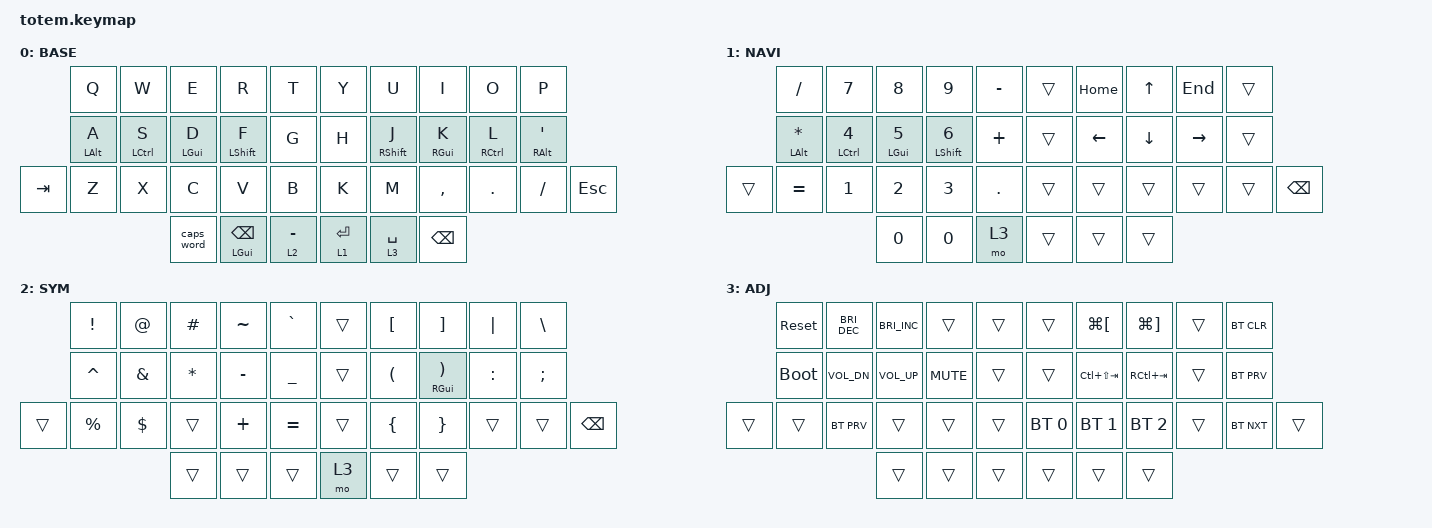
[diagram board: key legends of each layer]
//
//                                                        ▀▀▀▀▀     ▀▀▀▀▀          ▀▀█▀▀
//                                                        ▄▀▀▀▄  ▄  ▄▀▀▀▄  ▄  ▄▀▀▀▄  █  ▄▀▀▀▄
//                                                        █   █  █  █   █  █  █   █  █  █   █
//                                                         ▀▀▀   █   ▀▀▀   █   ▀▀▀   ▀   ▀▀▀
//                                                               █      ▄▄▄█▄▄▄    █   █
//                                                               ▀      █  █  █     █▄█
//                                                             ▀▀▀▀▀    █  █  █      ▀
//                                                                      ▀  ▀  ▀
//
// ▄▄▄▄▄▄▄▄▄▄▄▄▄▄▄▄▄▄▄▄▄▄▄▄▄▄▄▄▄▄▄▄▄▄▄▄▄▄▄▄▄▄▄▄▄▄▄▄▄▄▄▄▄▄▄▄▄▄▄▄▄▄▄▄▄▄▄▄▄▄▄▄▄▄▄▄▄▄▄▄▄▄▄▄▄▄▄▄▄▄▄▄▄▄▄▄▄▄▄▄▄▄▄▄▄▄▄▄▄▄▄▄▄▄▄▄▄▄▄▄▄▄▄▄▄▄▄▄▄▄▄▄▄▄▄▄▄▄▄▄▄▄▄▄▄▄▄▄▄

#include <behaviors.dtsi>
#include <dt-bindings/zmk/bt.h>
#include <dt-bindings/zmk/keys.h>

#define BASE 0
#define NAV  1
#define SYM  2
#define ADJ  3
#define TVP1 4
#define TVP2 5

&mt {
    quick-tap-ms = <100>;
    global-quick-tap;
    flavor = "tap-preferred";
    tapping-term-ms = <170>;
};

/ {
    combos {
        compatible = "zmk,combos";

        combo_esc {
            timeout-ms = <50>;
            key-positions = <0 1>;
            bindings = <&kp ESC>;
        };

        combo_tvp {
            timeout-ms = <100>;
            key-positions = <11 12 13>;
            bindings = <&tog TVP1>;
        };
    };

    macros {
        gif: gif {
            label = "giphy";
            compatible = "zmk,behavior-macro";
            #binding-cells = <0>;
            bindings =
                <&macro_press>,
                <&kp LSHFT>,
                <&macro_tap>,
                <&kp N2>,
                <&macro_release>,
                <&kp LSHFT>,
                <&macro_tap>,
                <&kp G &kp I &kp F>;
        };
    };

    keymap {
        compatible = "zmk,keymap";

        // ▄▄▄▄▄▄▄▄▄▄▄▄▄▄▄▄▄▄▄▄▄▄▄▄▄▄▄▄▄▄▄▄▄▄▄▄▄▄▄▄▄▄▄▄▄▄▄▄▄▄▄▄▄▄▄▄▄▄▄▄▄▄▄▄▄▄▄▄▄▄▄▄▄▄▄▄▄▄▄▄▄▄▄▄▄▄▄▄▄▄▄▄▄▄▄▄▄▄▄▄▄▄▄▄▄▄▄▄▄▄▄▄▄▄▄▄▄▄▄▄▄▄▄▄▄▄▄▄▄▄▄▄▄▄▄▄▄▄▄▄▄▄▄▄▄▄▄▄▄

        base_layer {
            // ┏━━━━━━━━━━━━━━━━━━━━━━━━━━━━━━━━━━━━━━━┓

            label = "BASE";

            // ┗━━━━━━━━━━━━━━━━━━━━━━━━━━━━━━━━━━━━━━━┛
            //             ┏━━━━━━━━━━━┳━━━━━━━━━━━┳━━━━━━━━━━━┳━━━━━━━━━━━┳━━━━━━━━━━━┓   ┏━━━━━━━━━━━┳━━━━━━━━━━━┳━━━━━━━━━━━┳━━━━━━━━━━━┳━━━━━━━━━━━┓
            //             ┃     Q     ┃     W     ┃     F     ┃     P     ┃     G     ┃   ┃     J     ┃     L     ┃     U     ┃     Y     ┃     ;     ┃
            //             ┣━━━━━━━━━━━╋━━━━━━━━━━━╋━━━━━━━━━━━╋━━━━━━━━━━━╋━━━━━━━━━━━┫   ┣━━━━━━━━━━━╋━━━━━━━━━━━╋━━━━━━━━━━━╋━━━━━━━━━━━╋━━━━━━━━━━━┫
            //             ┃     A     ┃     R     ┃     S     ┃     T     ┃     D     ┃   ┃     H     ┃     N     ┃     E     ┃     I     ┃     O     ┃
            // ┏━━━━━━━━━━━╋━━━━━━━━━━━╋━━━━━━━━━━━╋━━━━━━━━━━━╋━━━━━━━━━━━╋━━━━━━━━━━━┫   ┣━━━━━━━━━━━╋━━━━━━━━━━━╋━━━━━━━━━━━╋━━━━━━━━━━━╋━━━━━━━━━━━╋━━━━━━━━━━━┓
            // ┃     Q     ┃     Z     ┃     X     ┃     C     ┃     V     ┃     B     ┃   ┃     K     ┃     M     ┃     ,     ┃     .     ┃     /     ┃     \     ┃
            // ┗━━━━━━━━━━━┻━━━━━━━━━━━┻━━━━━━━━━━━╋━━━━━━━━━━━╋━━━━━━━━━━━╋━━━━━━━━━━━┫   ┣━━━━━━━━━━━╋━━━━━━━━━━━╋━━━━━━━━━━━╋━━━━━━━━━━━┻━━━━━━━━━━━┻━━━━━━━━━━━┛
            //                                     ┃    DEL    ┃    TAB    ┃    SPC    ┃   ┃   ENTER   ┃           ┃   BSPC    ┃
            //                                     ┗━━━━━━━━━━━┻━━━━━━━━━━━┻━━━━━━━━━━━┛   ┗━━━━━━━━━━━┻━━━━━━━━━━━┻━━━━━━━━━━━┛

            bindings = <
         &kp Q       &kp W               &kp E       &kp R                   &kp T          &kp Y        &kp U        &kp I       &kp O                &kp P
         &mt LALT A  &mt LEFT_CONTROL S  &mt LGUI D  &mt LSHFT F             &kp G          &kp H        &mt RSHFT J  &mt RGUI K  &mt RIGHT_CONTROL L  &mt RALT SQT
&kp TAB  &kp Z       &kp X               &kp C       &kp V                   &kp B          &kp K        &kp M        &kp COMMA   &kp DOT              &kp FSLH      &kp ESCAPE
                                         &caps_word  &mt LEFT_GUI BACKSPACE  &lt 2 MINUS    &lt 1 ENTER  &lt 3 SPACE  &kp BSPC
            >;
        };

        // ▄▄▄▄▄▄▄▄▄▄▄▄▄▄▄▄▄▄▄▄▄▄▄▄▄▄▄▄▄▄▄▄▄▄▄▄▄▄▄▄▄▄▄▄▄▄▄▄▄▄▄▄▄▄▄▄▄▄▄▄▄▄▄▄▄▄▄▄▄▄▄▄▄▄▄▄▄▄▄▄▄▄▄▄▄▄▄▄▄▄▄▄▄▄▄▄▄▄▄▄▄▄▄▄▄▄▄▄▄▄▄▄▄▄▄▄▄▄▄▄▄▄▄▄▄▄▄▄▄▄▄▄▄▄▄▄▄▄▄▄▄▄▄▄▄▄▄▄▄

        nav_num_layer {
            // ┏━━━━━━━━━━━━━━━━━━━━━━━━━━━━━━━━━━━━━━━┓

            label = "NAVI";

            // ┗━━━━━━━━━━━━━━━━━━━━━━━━━━━━━━━━━━━━━━━┛
            //             ┏━━━━━━━━━━━┳━━━━━━━━━━━┳━━━━━━━━━━━┳━━━━━━━━━━━┳━━━━━━━━━━━┓   ┏━━━━━━━━━━━┳━━━━━━━━━━━┳━━━━━━━━━━━┳━━━━━━━━━━━┳━━━━━━━━━━━┓
            //             ┃           ┃           ┃     UP    ┃           ┃     {     ┃   ┃     }     ┃     7     ┃     8     ┃     9     ┃     +     ┃
            //             ┣━━━━━━━━━━━╋━━━━━━━━━━━╋━━━━━━━━━━━╋━━━━━━━━━━━╋━━━━━━━━━━━┫   ┣━━━━━━━━━━━╋━━━━━━━━━━━╋━━━━━━━━━━━╋━━━━━━━━━━━╋━━━━━━━━━━━┫
            //             ┃   SHIFT   ┃   LEFT    ┃    DOWN   ┃   RIGHT   ┃     [     ┃   ┃     ]     ┃     4     ┃     5     ┃     6     ┃     -     ┃
            // ┏━━━━━━━━━━━╋━━━━━━━━━━━╋━━━━━━━━━━━╋━━━━━━━━━━━╋━━━━━━━━━━━╋━━━━━━━━━━━┫   ┣━━━━━━━━━━━╋━━━━━━━━━━━╋━━━━━━━━━━━╋━━━━━━━━━━━╋━━━━━━━━━━━╋━━━━━━━━━━━┓
            // ┃           ┃           ┃   P UP    ┃  C LOCK   ┃  P DOWN   ┃     (     ┃   ┃     )     ┃     1     ┃     2     ┃     3     ┃     *     ┃           ┃
            // ┗━━━━━━━━━━━┻━━━━━━━━━━━┻━━━━━━━━━━━╋━━━━━━━━━━━╋━━━━━━━━━━━╋━━━━━━━━━━━┫   ┣━━━━━━━━━━━╋━━━━━━━━━━━╋━━━━━━━━━━━╋━━━━━━━━━━━┻━━━━━━━━━━━┻━━━━━━━━━━━┛
            //                                     ┃           ┃    TAB    ┃    SPC    ┃   ┃    DEL    ┃     0     ┃           ┃
            //                                     ┗━━━━━━━━━━━┻━━━━━━━━━━━┻━━━━━━━━━━━┛   ┗━━━━━━━━━━━┻━━━━━━━━━━━┻━━━━━━━━━━━┛

            bindings = <
        &kp FSLH           &kp NUMBER_7               &kp NUMBER_8       &kp NUMBER_9        &kp MINUS     &trans  &kp HOME  &kp UP_ARROW    &kp END    &trans
        &mt LALT ASTERISK  &mt LEFT_CONTROL NUMBER_4  &mt LGUI NUMBER_5  &mt LSHFT NUMBER_6  &kp PLUS      &trans  &kp LEFT  &kp DOWN_ARROW  &kp RIGHT  &trans
&trans  &kp EQUAL          &kp NUMBER_1               &kp NUMBER_2       &kp NUMBER_3        &kp PERIOD    &trans  &trans    &trans          &trans     &trans  &kp BACKSPACE
                                                      &kp NUMBER_0       &kp NUMBER_0        &mo 3         &trans  &trans    &trans
            >;
        };

        // ▄▄▄▄▄▄▄▄▄▄▄▄▄▄▄▄▄▄▄▄▄▄▄▄▄▄▄▄▄▄▄▄▄▄▄▄▄▄▄▄▄▄▄▄▄▄▄▄▄▄▄▄▄▄▄▄▄▄▄▄▄▄▄▄▄▄▄▄▄▄▄▄▄▄▄▄▄▄▄▄▄▄▄▄▄▄▄▄▄▄▄▄▄▄▄▄▄▄▄▄▄▄▄▄▄▄▄▄▄▄▄▄▄▄▄▄▄▄▄▄▄▄▄▄▄▄▄▄▄▄▄▄▄▄▄▄▄▄▄▄▄▄▄▄▄▄▄▄▄

        sim_layer {
            // ┏━━━━━━━━━━━━━━━━━━━━━━━━━━━━━━━━━━━━━━━┓

            label = "SYM";

            // ┗━━━━━━━━━━━━━━━━━━━━━━━━━━━━━━━━━━━━━━━┛
            //             ┏━━━━━━━━━━━┳━━━━━━━━━━━┳━━━━━━━━━━━┳━━━━━━━━━━━┳━━━━━━━━━━━┓   ┏━━━━━━━━━━━┳━━━━━━━━━━━┳━━━━━━━━━━━┳━━━━━━━━━━━┳━━━━━━━━━━━┓
            //             ┃     !     ┃     @     ┃     #     ┃     $     ┃     %     ┃   ┃     ˆ     ┃     &     ┃     Ü     ┃     '     ┃     "     ┃
            //             ┣━━━━━━━━━━━╋━━━━━━━━━━━╋━━━━━━━━━━━╋━━━━━━━━━━━╋━━━━━━━━━━━┫   ┣━━━━━━━━━━━╋━━━━━━━━━━━╋━━━━━━━━━━━╋━━━━━━━━━━━╋━━━━━━━━━━━┫
            //             ┃     Ä     ┃           ┃    SZ     ┃           ┃           ┃   ┃   MUTE    ┃   YEN     ┃   EURO    ┃  POUND    ┃     Ö     ┃
            // ┏━━━━━━━━━━━╋━━━━━━━━━━━╋━━━━━━━━━━━╋━━━━━━━━━━━╋━━━━━━━━━━━╋━━━━━━━━━━━┫   ┣━━━━━━━━━━━╋━━━━━━━━━━━╋━━━━━━━━━━━╋━━━━━━━━━━━╋━━━━━━━━━━━╋━━━━━━━━━━━┓
            // ┃           ┃  EMAIL1   ┃  EMAIL2   ┃           ┃           ┃           ┃   ┃   VOL-    ┃   VOL+    ┃   LAST    ┃   NEXT    ┃     \     ┃           ┃
            // ┗━━━━━━━━━━━┻━━━━━━━━━━━┻━━━━━━━━━━━╋━━━━━━━━━━━╋━━━━━━━━━━━╋━━━━━━━━━━━┫   ┣━━━━━━━━━━━╋━━━━━━━━━━━╋━━━━━━━━━━━╋━━━━━━━━━━━┻━━━━━━━━━━━┻━━━━━━━━━━━┛
            //                                     ┃           ┃    GIF    ┃    ADJ    ┃   ┃           ┃           ┃           ┃
            //                                     ┗━━━━━━━━━━━┻━━━━━━━━━━━┻━━━━━━━━━━━┛   ┗━━━━━━━━━━━┻━━━━━━━━━━━┻━━━━━━━━━━━┛

            bindings = <
        &kp EXCL     &kp AT      &kp HASH      &kp TILDE  &kp GRAVE         &trans  &kp LEFT_BRACKET      &kp RIGHT_BRACKET                &kp PIPE   &kp BSLH
        &kp CARET    &kp AMPS    &kp ASTERISK  &kp MINUS  &kp UNDERSCORE    &trans  &kp LEFT_PARENTHESIS  &mt RIGHT_GUI RIGHT_PARENTHESIS  &kp COLON  &kp SEMICOLON
&trans  &kp PERCENT  &kp DOLLAR  &trans        &kp PLUS   &kp EQUAL         &trans  &kp LEFT_BRACE        &kp RIGHT_BRACE                  &trans     &trans         &kp BACKSPACE
                                 &trans        &trans     &trans            &mo 3   &trans                &trans
            >;
        };

        // ▄▄▄▄▄▄▄▄▄▄▄▄▄▄▄▄▄▄▄▄▄▄▄▄▄▄▄▄▄▄▄▄▄▄▄▄▄▄▄▄▄▄▄▄▄▄▄▄▄▄▄▄▄▄▄▄▄▄▄▄▄▄▄▄▄▄▄▄▄▄▄▄▄▄▄▄▄▄▄▄▄▄▄▄▄▄▄▄▄▄▄▄▄▄▄▄▄▄▄▄▄▄▄▄▄▄▄▄▄▄▄▄▄▄▄▄▄▄▄▄▄▄▄▄▄▄▄▄▄▄▄▄▄▄▄▄▄▄▄▄▄▄▄▄▄▄▄▄▄

        adjust_layer {
            // ┏━━━━━━━━━━━━━━━━━━━━━━━━━━━━━━━━━━━━━━━┓

            label = "ADJ";

            // ┗━━━━━━━━━━━━━━━━━━━━━━━━━━━━━━━━━━━━━━━┛
            //             ┏━━━━━━━━━━━┳━━━━━━━━━━━┳━━━━━━━━━━━┳━━━━━━━━━━━┳━━━━━━━━━━━┓   ┏━━━━━━━━━━━┳━━━━━━━━━━━┳━━━━━━━━━━━┳━━━━━━━━━━━┳━━━━━━━━━━━┓
            //             ┃   RESET   ┃ BT CLEAR  ┃  OUT TOG  ┃           ┃           ┃   ┃           ┃    F7     ┃    F8     ┃    F9     ┃    F12    ┃
            //             ┣━━━━━━━━━━━╋━━━━━━━━━━━╋━━━━━━━━━━━╋━━━━━━━━━━━╋━━━━━━━━━━━┫   ┣━━━━━━━━━━━╋━━━━━━━━━━━╋━━━━━━━━━━━╋━━━━━━━━━━━╋━━━━━━━━━━━┫
            //             ┃ BOOTLOAD  ┃ BT NEXT   ┃           ┃           ┃           ┃   ┃           ┃    F4     ┃    F5     ┃    F6     ┃    F11    ┃
            // ┏━━━━━━━━━━━╋━━━━━━━━━━━╋━━━━━━━━━━━╋━━━━━━━━━━━╋━━━━━━━━━━━╋━━━━━━━━━━━┫   ┣━━━━━━━━━━━╋━━━━━━━━━━━╋━━━━━━━━━━━╋━━━━━━━━━━━╋━━━━━━━━━━━╋━━━━━━━━━━━┓
            // ┃           ┃           ┃ BT PREV   ┃           ┃           ┃           ┃   ┃           ┃    F1     ┃    F2     ┃    F3     ┃    F10    ┃           ┃
            // ┗━━━━━━━━━━━┻━━━━━━━━━━━┻━━━━━━━━━━━╋━━━━━━━━━━━╋━━━━━━━━━━━╋━━━━━━━━━━━┫   ┣━━━━━━━━━━━╋━━━━━━━━━━━╋━━━━━━━━━━━╋━━━━━━━━━━━┻━━━━━━━━━━━┻━━━━━━━━━━━┛
            //                                     ┃           ┃           ┃           ┃   ┃           ┃           ┃           ┃
            //                                     ┗━━━━━━━━━━━┻━━━━━━━━━━━┻━━━━━━━━━━━┛   ┗━━━━━━━━━━━┻━━━━━━━━━━━┻━━━━━━━━━━━┛

            bindings = <
        &sys_reset   &kp C_BRIGHTNESS_DEC  &kp C_BRIGHTNESS_INC  &trans      &trans    &trans        &kp LG(LEFT_BRACKET)  &kp LG(RIGHT_BRACKET)  &trans  &bt BT_CLR
        &bootloader  &kp C_VOL_DN          &kp C_VOLUME_UP       &kp K_MUTE  &trans    &trans        &kp LC(LS(TAB))       &kp RC(TAB)            &trans  &bt BT_PRV
&trans  &trans       &bt BT_PRV            &trans                &trans      &trans    &bt BT_SEL 0  &bt BT_SEL 1          &bt BT_SEL 2           &trans  &bt BT_NXT  &trans
                                           &trans                &trans      &trans    &trans        &trans                &trans
            >;
        };

        // ▄▄▄▄▄▄▄▄▄▄▄▄▄▄▄▄▄▄▄▄▄▄▄▄▄▄▄▄▄▄▄▄▄▄▄▄▄▄▄▄▄▄▄▄▄▄▄▄▄▄▄▄▄▄▄▄▄▄▄▄▄▄▄▄▄▄▄▄▄▄▄▄▄▄▄▄▄▄▄▄▄▄▄▄▄▄▄▄▄▄▄▄▄▄▄▄▄▄▄▄▄▄▄▄▄▄▄▄▄▄▄▄▄▄▄▄▄▄▄▄▄▄▄▄▄▄▄▄▄▄▄▄▄▄▄▄▄▄▄▄▄▄▄▄▄▄▄▄▄

        tvp1_layer { status = "reserved"; };

        // ▄▄▄▄▄▄▄▄▄▄▄▄▄▄▄▄▄▄▄▄▄▄▄▄▄▄▄▄▄▄▄▄▄▄▄▄▄▄▄▄▄▄▄▄▄▄▄▄▄▄▄▄▄▄▄▄▄▄▄▄▄▄▄▄▄▄▄▄▄▄▄▄▄▄▄▄▄▄▄▄▄▄▄▄▄▄▄▄▄▄▄▄▄▄▄▄▄▄▄▄▄▄▄▄▄▄▄▄▄▄▄▄▄▄▄▄▄▄▄▄▄▄▄▄▄▄▄▄▄▄▄▄▄▄▄▄▄▄▄▄▄▄▄▄▄▄▄▄▄

        tvp2_layer { status = "reserved"; };

        extra1_layer { status = "reserved"; };

        extra2_layer { status = "reserved"; };
    };
};
